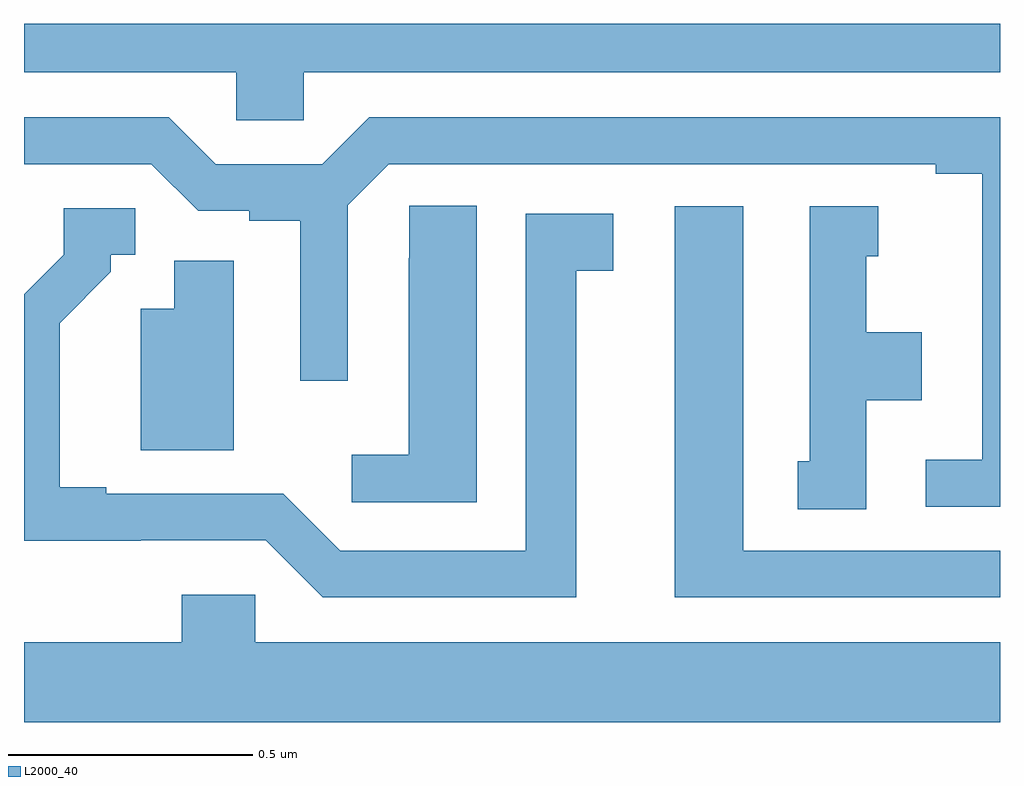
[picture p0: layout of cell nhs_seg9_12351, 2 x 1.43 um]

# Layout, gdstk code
import gdstk
lib = gdstk.Library(unit=1e-6, precision=1e-09)
def P(c, l, *ps):  # polygons
    for p in ps: c.add(gdstk.Polygon(p, *l))
L2000_40 = (2000, 40)

nhs_seg9_12351 = lib.new_cell('nhs_seg9_12351')
P(nhs_seg9_12351, L2000_40, [(267.573,1216.4),(269,1216.4),(269,1216.5),(267,1216.5),(267,1216.4),(267.435,1216.4),(267.435,1216.302),(267.573,1216.302)],
  [(269,1216.308),(267.707,1216.308),(267.611,1216.212),(267.393,1216.212),(267.297,1216.308),(267,1216.308),(267,1216.212),(267.261,1216.212),(267.357,1216.116),(267.462,1216.116),(267.462,1216.096),(267.566,1216.096),(267.566,1215.768),(267.663,1215.768),(267.663,1216.128),(267.747,1216.212),(268.868,1216.212),(268.868,1216.192),(268.964,1216.192),(268.964,1215.606),(268.848,1215.606),(268.848,1215.51),(269,1215.51)],
  [(267.928,1216.127),(267.789,1216.127),(267.789,1216.019),(267.788,1216.019),(267.788,1215.616),(267.672,1215.616),(267.672,1215.519),(267.928,1215.519)],
  [(268.726,1215.728),(268.84,1215.728),(268.84,1215.868),(268.726,1215.868),(268.726,1216.023),(268.75,1216.023),(268.75,1216.126),(268.61,1216.126),(268.61,1215.603),(268.586,1215.603),(268.586,1215.505),(268.726,1215.505)],
  [(269,1215.42),(268.474,1215.42),(268.474,1216.126),(268.334,1216.126),(268.334,1215.324),(269,1215.324)],
  [(268.132,1215.994),(268.207,1215.994),(268.207,1216.11),(268.028,1216.11),(268.028,1215.42),(267.648,1215.42),(267.531,1215.537),(267.169,1215.537),(267.169,1215.55),(267.073,1215.55),(267.073,1215.886),(267.178,1215.991),(267.178,1216.026),(267.228,1216.026),(267.228,1216.122),(267.081,1216.122),(267.081,1216.026),(267,1215.945),(267,1215.44),(267.239,1215.44),(267.239,1215.441),(267.495,1215.441),(267.612,1215.324),(268.132,1215.324)],
  [(267.43,1216.014),(267.308,1216.014),(267.308,1215.916),(267.239,1215.916),(267.239,1215.626),(267.43,1215.626)],
  [(269,1215.232),(267.474,1215.232),(267.474,1215.33),(267.323,1215.33),(267.323,1215.232),(267,1215.232),(267,1215.068),(269,1215.068)])

lib.write_gds('nhs_seg9_12351.gds')
